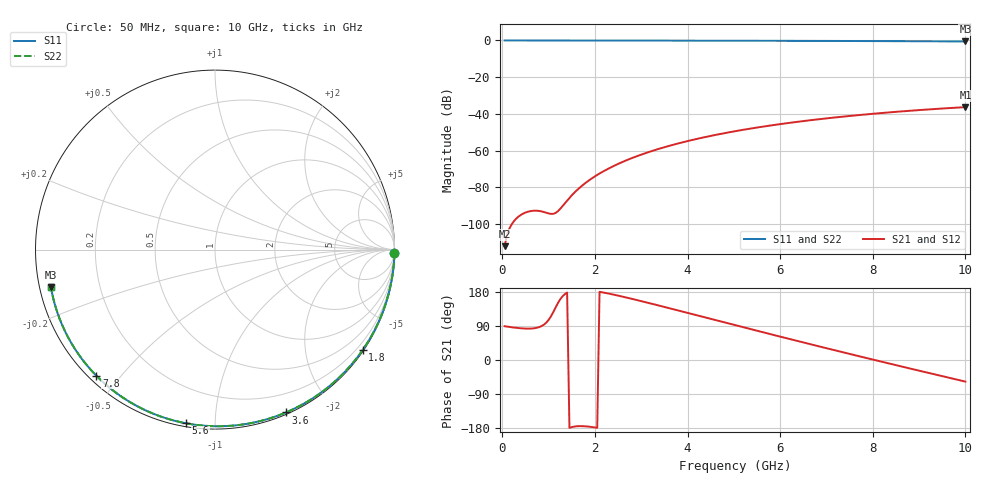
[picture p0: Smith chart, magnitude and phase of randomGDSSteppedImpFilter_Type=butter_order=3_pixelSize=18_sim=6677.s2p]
! freq	dB(S11)	phase(S11)	dB(S12)	phase(S12)
!  dB(S21)	phase(S21)	dB(S22)	phase(S22)
!S-par simulation data
#  GHz  S  DB  R 50
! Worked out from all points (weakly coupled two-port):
!   200 points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, 50 MHz to 10 GHz, reference 50 ohm
!   highest |S21| = -36.34 dB at 10 GHz (marker M1); lowest = -112.1 dB at 50 MHz (marker M2)
!   lowest |S11| = -0.6 dB at 10 GHz (marker M3), VSWR 31.22, Z = 1.62 - j5.69 ohm
!   |S11| at or under -10 dB: nowhere
!   |S22| runs from -0.6 to 0.0 dB; largest |S21 - S12| = 0
!   S11 on the Smith chart (normalised r, x): 50 MHz: open; 1.8 GHz: 0.03, -3.25; 3.6 GHz: 0.02, -1.53; 5.6 GHz: 0.02, -0.85; 7.8 GHz: 0.02, -0.43; 10 GHz: 0.03, -0.11
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0.05  -0.00 -1.0  -112.11 89.1  -112.11 89.1  -0.00 -1.0
0.45  -0.01 -8.7  -94.37 83.2  -94.37 83.2  -0.01 -8.7
0.85  -0.02 -16.3  -93.17 89.7  -93.17 89.7  -0.02 -16.3
1.65  -0.04 -31.4  -80.71 -174.6  -80.71 -174.6  -0.04 -31.4
1.7  -0.04 -32.3  -79.61 -174.5  -79.61 -174.5  -0.04 -32.3
1.75  -0.04 -33.3  -78.57 -174.7  -78.57 -174.7  -0.04 -33.3
1.8  -0.04 -34.2  -77.59 -175.0  -77.59 -175.0  -0.04 -34.2
2.1  -0.05 -39.7  -72.52 180.0  -72.52 180.0  -0.05 -39.7
2.3  -0.06 -43.4  -69.74 175.2  -69.74 175.2  -0.06 -43.4
2.5  -0.06 -47.0  -67.29 169.9  -67.29 169.9  -0.06 -47.0
2.9  -0.07 -54.2  -63.14 158.4  -63.14 158.4  -0.07 -54.2
3.4  -0.08 -63.0  -58.92 143.1  -58.92 143.1  -0.08 -63.0
3.6  -0.09 -66.5  -57.46 136.9  -57.46 136.9  -0.09 -66.5
4.3  -0.11 -78.3  -53.09 114.9  -53.09 114.9  -0.11 -78.3
5.05  -0.14 -90.7  -49.35 91.3  -49.35 91.3  -0.14 -90.7
5.6  -0.17 -99.5  -47.06 74.1  -47.06 74.1  -0.17 -99.5
6.15  -0.19 -108.1  -45.07 57.1  -45.07 57.1  -0.19 -108.1
6.7  -0.23 -116.6  -43.33 40.2  -43.33 40.2  -0.23 -116.6
7.8  -0.31 -133.3  -40.42 7.1  -40.42 7.1  -0.31 -133.3
8.35  -0.36 -141.6  -39.20 -9.2  -39.20 -9.2  -0.36 -141.6
9.2  -0.46 -154.5  -37.59 -34.0  -37.59 -34.0  -0.46 -154.5
10  -0.56 -167.0  -36.34 -57.0  -36.34 -57.0  -0.56 -167.0
